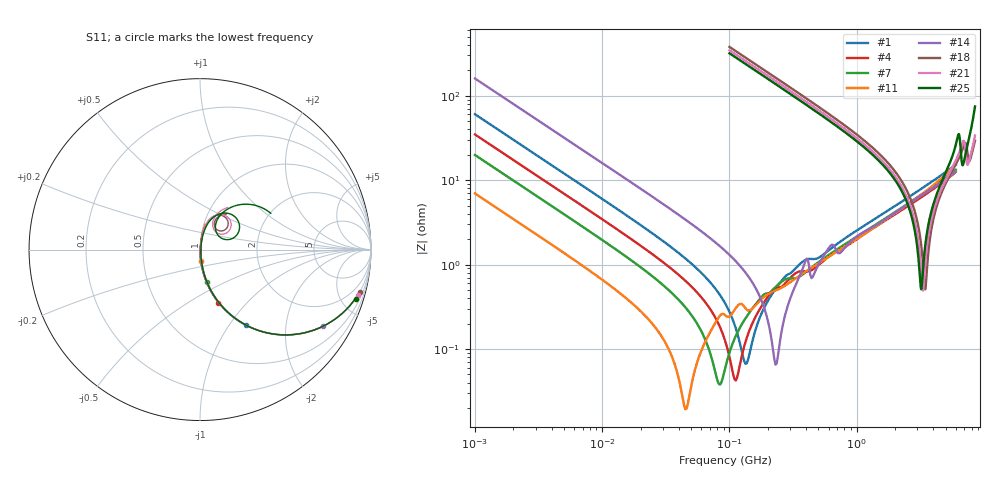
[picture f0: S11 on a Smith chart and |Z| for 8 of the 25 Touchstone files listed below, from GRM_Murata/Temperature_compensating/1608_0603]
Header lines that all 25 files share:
!These Parameters are Measured in Series Mode Connection
!Data Generated on Mar 30, 2021
!  o--ll--o
!Port1  Port2
!  o------o
!Operation Temp=25[degC], DC Bias Voltage=0[V]
# Hz S RI R 50
!Freq.(Hz) S11(Real) S11(Imag) S21(Real) S21(Imag) S12(Real) S12(Imag) S22(Real) S22(Imag)
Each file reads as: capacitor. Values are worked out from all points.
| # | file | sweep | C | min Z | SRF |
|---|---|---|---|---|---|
| 1 | GRM1851X1H272JA44.s2p | 1 MHz to 6 GHz | 2.64 nF | 67 mohm | 135.1 MHz |
| 2 | GRM1851X1H332JA44.s2p | 1 MHz to 6 GHz | 3.3 nF | 50.1 mohm | 127.9 MHz |
| 3 | GRM1851X1H392JA44.s2p | 1 MHz to 6 GHz | 3.81 nF | 51.3 mohm | 120.6 MHz |
| 4 | GRM1851X1H472JA44.s2p | 1 MHz to 6 GHz | 4.58 nF | 42.5 mohm | 111.9 MHz |
| 5 | GRM1853U1A562JA44.s2p | 1 MHz to 6 GHz | 5.68 nF | 41.6 mohm | 96.72 MHz |
| 6 | GRM1853U1A682JA44.s2p | 1 MHz to 6 GHz | 6.69 nF | 40.1 mohm | 89.56 MHz |
| 7 | GRM1853U1A822JA44.s2p | 1 MHz to 6 GHz | 8.01 nF | 38 mohm | 84.14 MHz |
| 8 | GRM1853U1H222JA44.s2p | 1 MHz to 6 GHz | 2.22 nF | 70.7 mohm | 144.8 MHz |
| 9 | GRM1881X0J333JA01.s2p | 1 MHz to 6 GHz | 33.1 nF | 17.8 mohm | 37.65 MHz |
| 10 | GRM1881X1A123JA01.s2p | 1 MHz to 6 GHz | 11.7 nF | 29 mohm | 61.68 MHz |
| 11 | GRM1881X1A223JA01.s2p | 1 MHz to 6 GHz | 22.8 nF | 19.5 mohm | 45.56 MHz |
| 12 | GRM1881X1E103JA01.s2p | 1 MHz to 6 GHz | 9.98 nF | 27.1 mohm | 73.31 MHz |
| 13 | GRM1881X1H152JA01.s2p | 1 MHz to 6 GHz | 1.49 nF | 61.4 mohm | 176.2 MHz |
| 14 | GRM1882C1E102JA01.s2p | 1 MHz to 6 GHz | 996 pF | 65.3 mohm | 232.1 MHz |
| 15 | GRM1882C1E561JA01.s2p | 100 MHz to 8.5 GHz | 556 pF | 69 mohm | 308.6 MHz |
| 16 | GRM1882C1H4R0BA01.s2p | 100 MHz to 8.5 GHz | 4 pF | 492 mohm | 3.526 GHz |
| 17 | GRM1882C1H4R1CA01.s2p | 100 MHz to 8.5 GHz | 4.1 pF | 512 mohm | 3.491 GHz |
| 18 | GRM1882C1H4R2CA01.s2p | 100 MHz to 8.5 GHz | 4.2 pF | 510 mohm | 3.451 GHz |
| 19 | GRM1882C1H4R3CA01.s2p | 100 MHz to 8.5 GHz | 4.3 pF | 505 mohm | 3.411 GHz |
| 20 | GRM1882C1H4R4BA01.s2p | 100 MHz to 8.5 GHz | 4.4 pF | 498 mohm | 3.384 GHz |
| 21 | GRM1882C1H4R6BA01.s2p | 100 MHz to 8.5 GHz | 4.6 pF | 491 mohm | 3.313 GHz |
| 22 | GRM1882C1H4R7WA01.s2p | 100 MHz to 8.5 GHz | 4.7 pF | 503 mohm | 3.32 GHz |
| 23 | GRM1882C1H4R8CA01.s2p | 100 MHz to 8.5 GHz | 4.8 pF | 500 mohm | 3.287 GHz |
| 24 | GRM1882C1H4R9BA01.s2p | 100 MHz to 8.5 GHz | 4.9 pF | 495 mohm | 3.255 GHz |
| 25 | GRM1882C1H5R0BA01.s2p | 100 MHz to 8.5 GHz | 5 pF | 511 mohm | 3.213 GHz |
